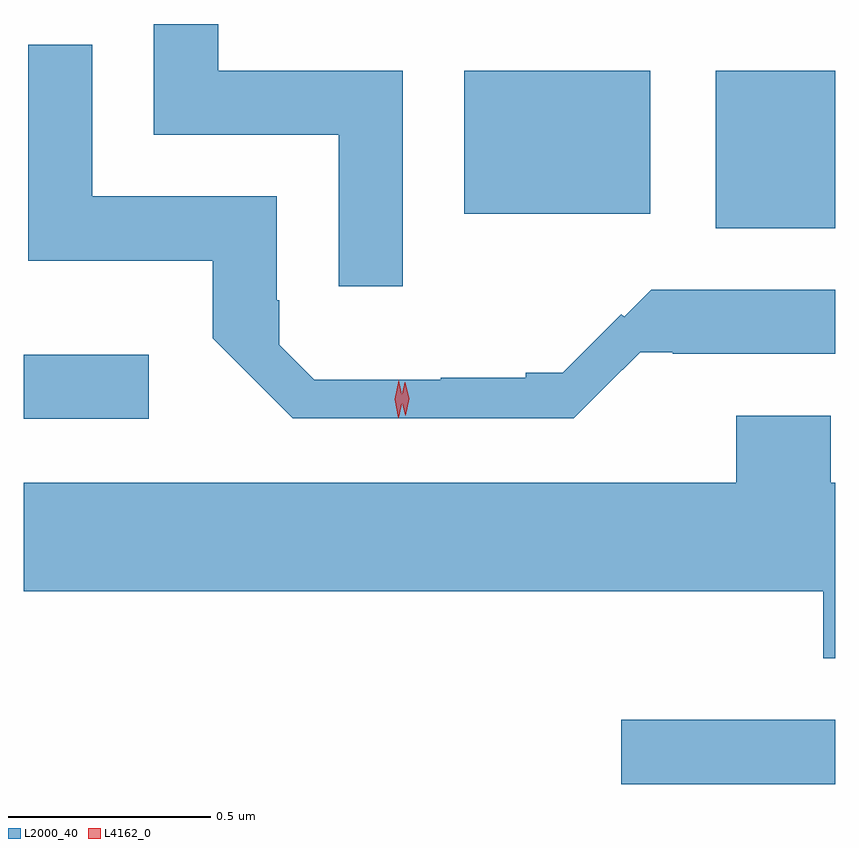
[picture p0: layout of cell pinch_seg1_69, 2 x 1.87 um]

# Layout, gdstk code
import gdstk
lib = gdstk.Library(unit=1e-6, precision=1e-09)
def R(c, l, rs):  # rectangles x0, y0, x1, y1
    for r in rs: c.add(gdstk.rectangle(r[:2], r[2:], *l))
def P(c, l, *ps):  # polygons
    for p in ps: c.add(gdstk.Polygon(p, *l))
L2000_40 = (2000, 40)
L4162_0 = (4162, 0)

pinch_seg1_69 = lib.new_cell('pinch_seg1_69')
R(pinch_seg1_69, L2000_40, [(1386.733,901.321,1387.26,901.479), (1385.26,902.221,1385.568,902.379), (1386.966,902.691,1387.26,903.079), (1386.346,902.726,1386.804,903.079)])
P(pinch_seg1_69, L2000_40, [(1386.194,903.079),(1385.739,903.079),(1385.739,903.194),(1385.581,903.194),(1385.581,902.921),(1386.036,902.921),(1386.036,902.548),(1386.194,902.548)],
  [(1386.689,902.296),(1386.69,902.296),(1386.779,902.385),(1386.86,902.385),(1386.86,902.381),(1387.26,902.381),(1387.26,902.539),(1386.807,902.539),(1386.74,902.472),(1386.733,902.479),(1386.589,902.334),(1386.497,902.334),(1386.497,902.322),(1386.288,902.322),(1386.288,902.317),(1385.976,902.317),(1385.89,902.403),(1385.89,902.513),(1385.884,902.513),(1385.884,902.769),(1385.429,902.769),(1385.429,903.143),(1385.271,903.143),(1385.271,902.611),(1385.726,902.611),(1385.726,902.419),(1385.923,902.222),(1386.615,902.222)],
  [(1387.26,902.064),(1387.249,902.064),(1387.249,902.229),(1387.016,902.229),(1387.016,902.064),(1385.26,902.064),(1385.26,901.796),(1387.231,901.796),(1387.231,901.631),(1387.26,901.631)])
P(pinch_seg1_69, L4162_0, [(1386.2,902.23),(1386.2,902.23),(1386.19,902.27),(1386.199,902.311),(1386.2,902.311),(1386.2,902.311),(1386.21,902.27),(1386.201,902.23)],
  [(1386.184,902.222),(1386.183,902.223),(1386.174,902.269),(1386.184,902.316),(1386.184,902.317),(1386.184,902.316),(1386.194,902.269),(1386.184,902.223)])

lib.write_gds('pinch_seg1_69.gds')
